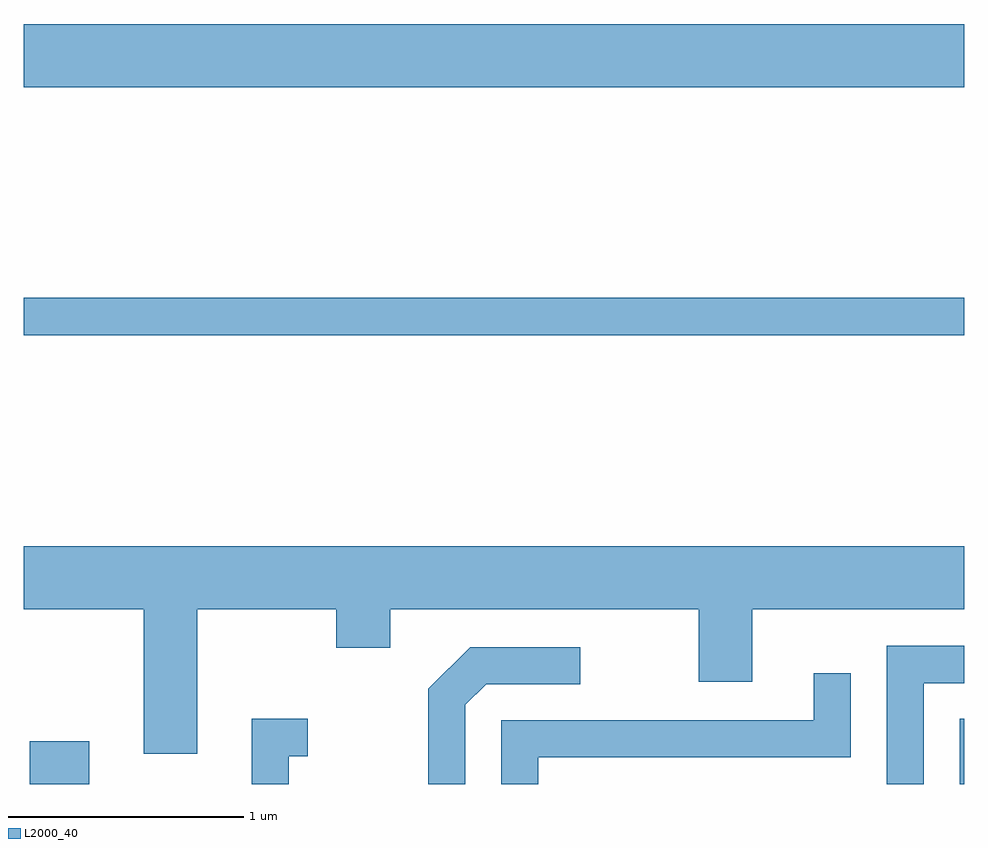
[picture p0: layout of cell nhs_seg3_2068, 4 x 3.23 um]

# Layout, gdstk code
import gdstk
lib = gdstk.Library(unit=1e-6, precision=1e-09)
def R(c, l, rs):  # rectangles x0, y0, x1, y1
    for r in rs: c.add(gdstk.rectangle(r[:2], r[2:], *l))
def P(c, l, *ps):  # polygons
    for p in ps: c.add(gdstk.Polygon(p, *l))
L2000_40 = (2000, 40)

nhs_seg3_2068 = lib.new_cell('nhs_seg3_2068')
R(nhs_seg3_2068, L2000_40, [(245.636,1171.892,245.889,1172.074), (249.591,1171.892,249.611,1172.169), (245.611,1173.801,249.611,1173.959), (245.611,1174.856,249.611,1175.124)])
P(nhs_seg3_2068, L2000_40, [(245.611,1172.636),(246.121,1172.636),(246.121,1172.021),(246.349,1172.021),(246.349,1172.636),(246.941,1172.636),(246.941,1172.471),(247.169,1172.471),(247.169,1172.636),(248.481,1172.636),(248.481,1172.326),(248.709,1172.326),(248.709,1172.636),(249.611,1172.636),(249.611,1172.904),(245.611,1172.904)],
  [(249.439,1172.321),(249.611,1172.321),(249.611,1172.479),(249.281,1172.479),(249.281,1171.892),(249.439,1171.892)],
  [(247.489,1172.229),(247.577,1172.316),(247.978,1172.316),(247.978,1172.474),(247.509,1172.474),(247.331,1172.297),(247.331,1171.892),(247.489,1171.892)],
  [(247.799,1172.006),(249.129,1172.006),(249.129,1172.363),(248.971,1172.363),(248.971,1172.164),(247.641,1172.164),(247.641,1171.892),(247.799,1171.892)],
  [(246.739,1172.011),(246.818,1172.011),(246.818,1172.169),(246.581,1172.169),(246.581,1171.892),(246.739,1171.892)])

lib.write_gds('nhs_seg3_2068.gds')
